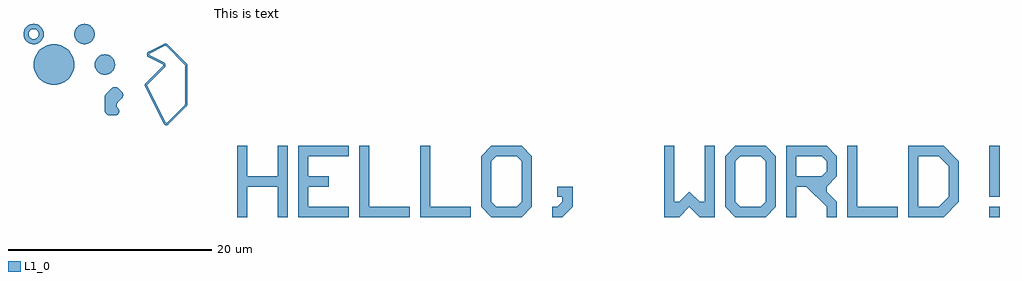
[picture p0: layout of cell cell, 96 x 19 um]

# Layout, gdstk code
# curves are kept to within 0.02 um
import gdstk
lib = gdstk.Library(unit=1e-6, precision=1e-09)
def R(c, l, rs):  # rectangles x0, y0, x1, y1
    for r in rs: c.add(gdstk.rectangle(r[:2], r[2:], *l))
def P(c, l, *ps):  # polygons
    for p in ps: c.add(gdstk.Polygon(p, *l))
L1_0 = (1, 0)

circle = lib.new_cell('CIRCLE')
P(circle, L1_0, [(-0.049,-1),(-0.428,-0.905),(-0.742,-0.672),(-0.943,-0.337),(-1,0.049),(-0.905,0.428),(-0.672,0.742),(-0.337,0.943),(0.049,1),(0.428,0.905),(0.742,0.672),(0.943,0.337),(1,-0.049),(0.905,-0.428),(0.672,-0.742),(0.337,-0.943)])

circle_2 = lib.new_cell('CIRCLE$2')
P(circle_2, L1_0, [(-0.098,-2),(-0.487,-1.942),(-0.856,-1.81),(-1.193,-1.608),(-1.484,-1.345),(-1.718,-1.029),(-1.885,-0.675),(-1.981,-0.294),(-2,0.098),(-1.942,0.487),(-1.81,0.856),(-1.608,1.193),(-1.345,1.484),(-1.029,1.718),(-0.675,1.885),(-0.294,1.981),(0.098,2),(0.487,1.942),(0.856,1.81),(1.193,1.608),(1.484,1.345),(1.718,1.029),(1.885,0.675),(1.981,0.294),(2,-0.098),(1.942,-0.487),(1.81,-0.856),(1.608,-1.193),(1.345,-1.484),(1.029,-1.718),(0.675,-1.885),(0.294,-1.981)])

donut = lib.new_cell('DONUT')
P(donut, L1_0, [(-0.049,-1),(-0.428,-0.905),(-0.742,-0.672),(-0.943,-0.337),(-1,0),(-0.5,0),(-0.453,-0.214),(-0.298,-0.402),(-0.122,-0.486),(0.122,-0.486),(0.336,-0.371),(0.429,-0.257),(0.486,-0.122),(0.486,0.122),(0.371,0.336),(0.257,0.429),(0.122,0.486),(-0.122,0.486),(-0.298,0.402),(-0.402,0.298),(-0.471,0.169),(-0.5,0),(-1,0),(-1,0.049),(-0.905,0.428),(-0.672,0.742),(-0.337,0.943),(0.049,1),(0.428,0.905),(0.742,0.672),(0.943,0.337),(1,-0.049),(0.905,-0.428),(0.672,-0.742),(0.337,-0.943)])

round_polygon = lib.new_cell('ROUND_POLYGON')
P(round_polygon, L1_0, [(2.475,-8),(2.286,-7.953),(2.164,-7.871),(2.071,-7.757),(2.014,-7.622),(2.014,-6.085),(2.129,-5.871),(2.702,-5.305),(2.927,-5.212),(3.122,-5.222),(3.336,-5.336),(3.695,-5.702),(3.788,-5.927),(3.778,-6.122),(3.695,-6.298),(3.279,-6.721),(3.184,-6.899),(3.195,-7.14),(3.356,-7.373),(3.41,-7.525),(3.402,-7.687),(3.333,-7.833),(3.213,-7.941),(3.061,-7.996)])

stroked_polygon = lib.new_cell('STROKED_POLYGON')
P(stroked_polygon, L1_0, [(8.067,-8.963),(7.922,-8.932),(7.794,-8.81),(5.968,-5.161),(5.943,-5.049),(5.961,-4.935),(6.021,-4.837),(7.736,-3.122),(7.762,-3.058),(7.711,-2.967),(6.275,-2.246),(6.159,-2.086),(6.148,-1.971),(6.181,-1.861),(6.3,-1.738),(7.49,-1.143),(7.951,-1.143),(6.393,-1.915),(6.356,-1.959),(6.349,-2.023),(6.393,-2.085),(7.836,-2.81),(7.931,-2.921),(7.962,-3.068),(7.887,-3.254),(6.166,-4.974),(6.145,-5.063),(8.01,-8.752),(8.124,-8.736),(9.894,-6.955),(9.894,-3.045),(8.026,-1.166),(7.967,-1.143),(7.49,-1.143),(7.84,-0.968),(7.951,-0.943),(8.065,-0.961),(8.163,-1.021),(10.023,-2.881),(10.1,-3.068),(10.083,-7.019),(10.023,-7.119),(8.257,-8.885)])

text = lib.new_cell('TEXT')
R(text, L1_0, [(74,0,75,1), (74,2,75,7)])
P(text, L1_0, [(0,0),(0,7),(1,7),(1,4),(4,4),(4,7),(5,7),(5,0),(4,0),(4,3),(1,3),(1,0)],
  [(6,0),(6,7),(11,7),(11,6),(7,6),(7,4),(9,4),(9,3),(7,3),(7,1),(11,1),(11,0)],
  [(12,0),(12,7),(13,7),(13,1),(17,1),(17,0)],
  [(18,0),(18,7),(19,7),(19,1),(23,1),(23,0)],
  [(25,0),(24,1),(24,6),(25,7),(28,7),(29,6),(29,3.5),(28,3.5),(28,5.5),(27.5,6),(25.5,6),(25,5.5),(25,1.5),(25.5,1),(27.5,1),(28,1.5),(28,3.5),(29,3.5),(29,1),(28,0)],
  [(31,0),(31,1),(31.5,1),(32,1.5),(32,2),(31.5,2),(31.5,3),(33,3),(33,1),(32,0)],
  [(42,0),(42,7),(43,7),(43,1.5),(43.5,1.5),(44.5,2.5),(45.5,1.5),(46,1.5),(46,7),(47,7),(47,0),(45.5,0),(44.5,1),(43.5,0)],
  [(49,0),(48,1),(48,6),(49,7),(52,7),(53,6),(53,3.5),(52,3.5),(52,5.5),(51.5,6),(49.5,6),(49,5.5),(49,1.5),(49.5,1),(51.5,1),(52,1.5),(52,3.5),(53,3.5),(53,1),(52,0)],
  [(54,0),(54,7),(58,7),(59,6),(55,6),(55,4),(57.5,4),(58,4.5),(58,5.5),(57.5,6),(59,6),(59,4),(58,3),(58,2.5),(59,1.5),(59,0),(58,0),(58,1),(56,3),(55,3),(55,0)],
  [(60,0),(60,7),(61,7),(61,1),(65,1),(65,0)],
  [(66,0),(66,7),(69.5,7),(70.5,6),(67,6),(67,1),(69,1),(70,2),(70,5),(69,6),(70.5,6),(71,5.5),(71,1.5),(69.5,0)])

cell = lib.new_cell('cell')
cell.add(gdstk.Reference(circle, (0,0)))
cell.add(gdstk.Reference(circle, (2,-3)))
cell.add(gdstk.Reference(circle_2, (-3,-3)))
cell.add(gdstk.Reference(donut, (-5,0)))
cell.add(gdstk.Reference(round_polygon, (0,0)))
cell.add(gdstk.Reference(stroked_polygon, (0,0)))
cell.add(gdstk.Reference(text, (15,-18)))
cell.add(gdstk.Label('This is text', (16,2), layer=1, texttype=0))

lib.write_gds('cell.gds')
